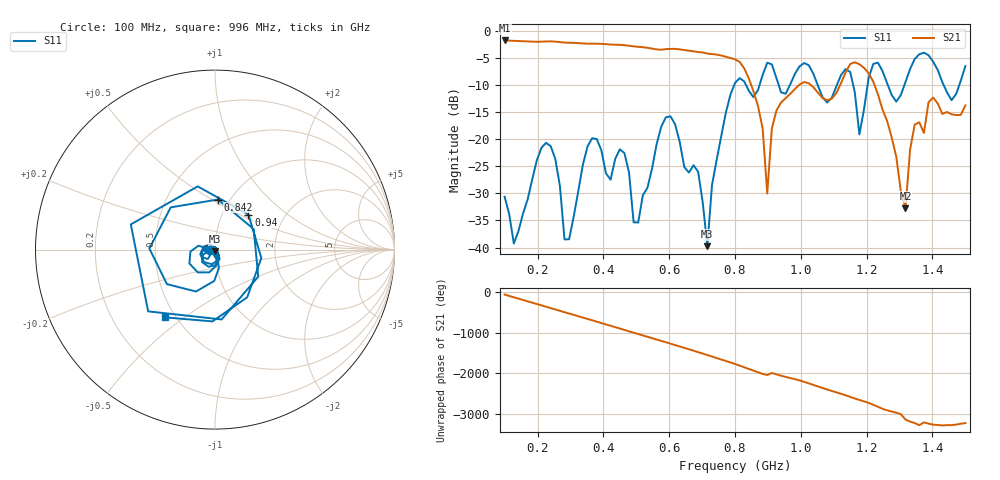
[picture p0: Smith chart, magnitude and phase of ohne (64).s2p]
! NanoVNA-App
! Date: 2025-09-26 09:55:53
! Start: 100MHz Stop: 1,5GHz Points: 101
! S-Parameter data: F S11 S21 S12 S22
# Hz S RI R 50
!  Frequency  S11_Real  S11_Imag  S21_Real  S21_Imag  S12_Real  S12_Imag  S22_Real  S22_Imag
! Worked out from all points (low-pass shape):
!   101 points, 100 MHz to 1.5 GHz, reference 50 ohm
!   highest |S21| = -1.79 dB at 100 MHz (marker M1); lowest = -32.7 dB at 1.318 GHz (marker M2)
!   |S21| within 3 dB of the highest: start of sweep to 771.7 MHz
!   lowest |S11| = -39.8 dB at 716 MHz (marker M3), VSWR 1.02, Z = 49.8 - j1.01 ohm
!   |S11| at or under -10 dB: start of sweep to 797.7 MHz; 833.3 MHz to 874.7 MHz (41.39 MHz wide, 4.85 % of centre); 1.051 GHz to 1.11 GHz (58.5 MHz wide, 5.41 % of centre)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
!   S12 and S22 are empty: the file has one direction only
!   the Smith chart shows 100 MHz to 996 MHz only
!   S11 on the Smith chart (normalised r, x): 100 MHz: 0.94, -0.01; 842 MHz: 0.88, +0.53; 940 MHz: 1.32, +0.56; 996 MHz: 0.44, -0.43
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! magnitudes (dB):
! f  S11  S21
! 100 MHz  -30.6  -1.8
! 128 MHz  -39.3  -1.9
! 226 MHz  -20.7  -2.0
! 296 MHz  -38.5  -2.2
! 338 MHz  -24.7  -2.3
! 464 MHz  -22.6  -2.7
! 506 MHz  -35.4  -3.0
! 576 MHz  -17.7  -3.5
! 688 MHz  -26.0  -3.9
! 716 MHz  -39.8  -4.2
! 800 MHz  -9.6  -5.3
! 842 MHz  -11.1  -8.8
! 898 MHz  -5.9  -30.0
! 940 MHz  -11.4  -13.2
! 996 MHz  -6.6  -9.9
! 1.038 GHz  -7.9  -10.4
! 1.178 GHz  -19.1  -6.2
! 1.22 GHz  -6.1  -9.4
! 1.276 GHz  -11.8  -19.7
! 1.318 GHz  -9.5  -32.7
! 1.346 GHz  -5.2  -17.3
! 1.5 GHz  -6.5  -13.8
